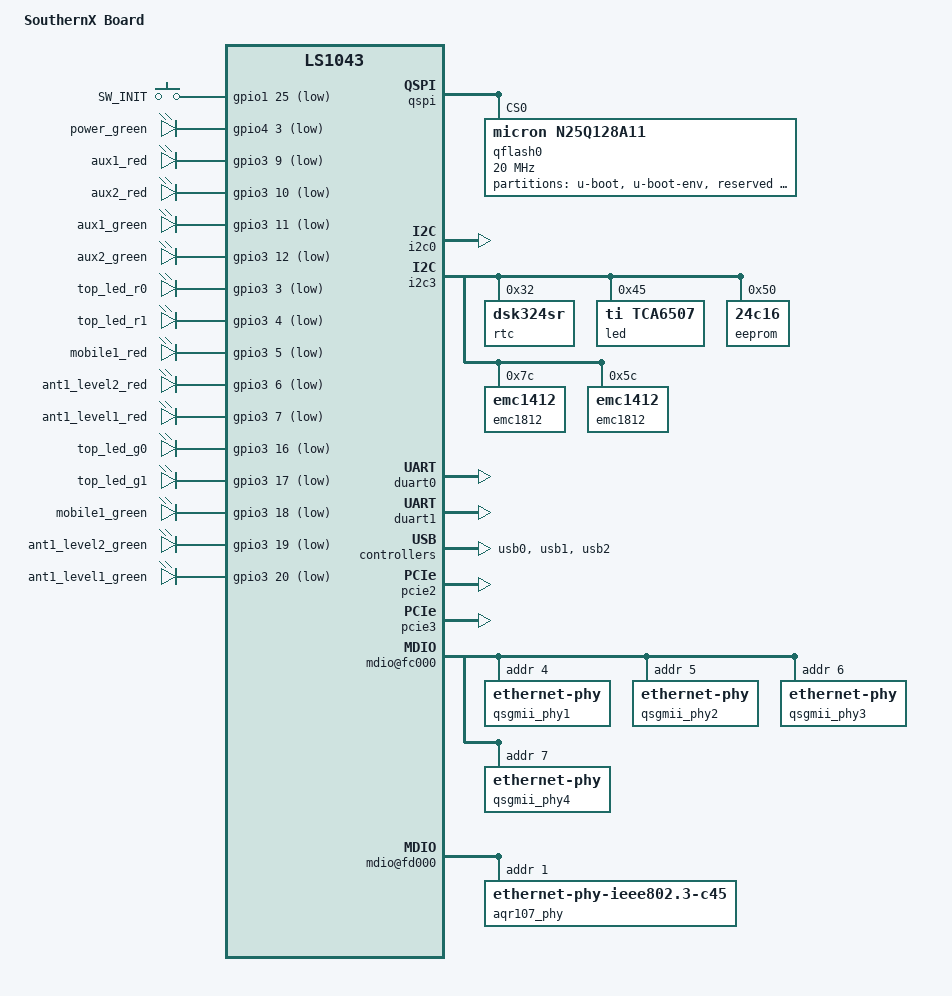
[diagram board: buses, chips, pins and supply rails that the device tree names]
// SPDX-License-Identifier: (GPL-2.0+ OR MIT)
/*
 * Device Tree Include file for Freescale Layerscape-1043A family SoC.
 *
 * Copyright 2014-2015 Freescale Semiconductor, Inc.
 *
 * Mingkai Hu <Mingkai.hu@freescale.com>
 */

/dts-v1/;
#include <dt-bindings/gpio/gpio.h>
#include <dt-bindings/input/input.h>
#include "cs-southernx.dtsi"

/ {
	model = "SouthernX Board";

	aliases {
		crypto = &crypto;
		serial0 = &duart0;
		serial1 = &duart1;
	};

	chosen {
		stdout-path = "serial0:115200n8";
	};

	gpio_keys {
		compatible = "gpio-keys";
		status = "ok";

		sw_init {
			label = "SW_INIT";
			gpios = <&gpio1 25 GPIO_ACTIVE_LOW>;
			linux,code = <BTN_0>;
		};
	};

	leds_system: leds_system {
		compatible = "gpio-leds";
		status = "ok";

		led@1 {
			label = "power_green";
			gpios = <&gpio4 3 GPIO_ACTIVE_LOW>;
			default-state = "on";
		};

		led@2 {
			label = "aux1_red";
			gpios = <&gpio3 9 GPIO_ACTIVE_LOW>;
		};

		led@3 {
			label = "aux2_red";
			gpios = <&gpio3 10 GPIO_ACTIVE_LOW>;
		};

		led@4 {
			label = "aux1_green";
			gpios = <&gpio3 11 GPIO_ACTIVE_LOW>;
		};

		led@5 {
			label = "aux2_green";
			gpios = <&gpio3 12 GPIO_ACTIVE_LOW>;
		};

		led@6 {
			label = "top_led_r0";
			gpios = <&gpio3 3 GPIO_ACTIVE_LOW>;
		};

		led@7 {
			label = "top_led_r1";
			gpios = <&gpio3 4 GPIO_ACTIVE_LOW>;
		};

		led@8 {
			label = "mobile1_red";
			gpios = <&gpio3 5 GPIO_ACTIVE_LOW>;
		};

		led@9 {
			label = "ant1_level2_red";
			gpios = <&gpio3 6 GPIO_ACTIVE_LOW>;
		};

		led@10 {
			label = "ant1_level1_red";
			gpios = <&gpio3 7 GPIO_ACTIVE_LOW>;
		};

		led@11 {
			label = "top_led_g0";
			gpios = <&gpio3 16 GPIO_ACTIVE_LOW>;
		};

		led@12 {
			label = "top_led_g1";
			gpios = <&gpio3 17 GPIO_ACTIVE_LOW>;
		};

		led@13 {
			label = "mobile1_green";
			gpios = <&gpio3 18 GPIO_ACTIVE_LOW>;
		};

		led@14 {
			label = "ant1_level2_green";
			gpios = <&gpio3 19 GPIO_ACTIVE_LOW>;
		};

		led@15 {
			label = "ant1_level1_green";
			gpios = <&gpio3 20 GPIO_ACTIVE_LOW>;
		};

	};
};

&qspi {
	num-cs = <1>;
	bus-num = <0>;
	status = "okay";

	qflash0: n25q128a11@0 {
		compatible = "micron,n25q128a11";
		#address-cells = <1>;
		#size-cells = <1>;
		spi-max-frequency = <20000000>;
		m25p,fast-read;
		reg = <0>;
		spi-rx-bus-width = <2>;
		spi-tx-bus-width = <2>;

		/* MTD partition table */
		partition@0 {
			label = "u-boot";
			reg = <0x00000000 0x00200000>;
		};

		partition@1 {
			label = "u-boot-env";
			reg = <0x00200000 0x00080000>;
		};

		partition@2 {
			label = "reserved";
			reg = <0x00280000 0x00080000>;
		};

		partition@3 {
			label = "oops";
			reg = <0x00300000 0x00200000>;
		};
	};
};

&i2c0 {
	status = "okay";
};

&i2c3 {
	status = "okay";

	rtc@32 {
		compatible = "dsk324sr";
		reg = <0x32>;
	};

	led@45 {
		compatible = "ti,tca6507";
		#address-cells = <1>;
		#size-cells = <0>;
		reg = <0x45>;

		/* LEDs on Main board */
		led0: power-status-red@0 {
			label = "power_red";
			reg = <0x0>;
		};

		led1: system-status1-red@1 {
			label = "status1_red";
			reg = <0x1>;
		};

		led2: system-status2-red@2 {
			label = "status2_red";
			reg = <0x2>;
		};

		led3: system-status3-red@3 {
			label = "status3_red";
			reg = <0x3>;
		};

		led4: system-status1-green@4 {
			label = "status1_green";
			linux,default-trigger = "timer";
			reg = <0x4>;
		};

		led5: system-status2-green@5 {
			label = "status2_green";
			reg = <0x5>;
		};

		led6: system-status3-green@6 {
			label = "status3_green";
			reg = <0x6>;
		};
	};

	eeprom@50 {
		compatible = "24c16";
		reg = <0x50>;
	};

	emc1812@7c {
		compatible = "emc1412";
		reg = <0x7c>;
	};

	emc1812@5c {
		compatible = "emc1412";
		reg = <0x5c>;
	};
};

&duart0 {
	status = "okay";
};

&duart1 {
	status = "okay";
};

&usb0 {
	status = "okay";
};

&usb1 {
	status = "okay";
};

&usb2 {
	status = "okay";
};

&pcie2 {
	status = "okay";
};

&pcie3 {
	status = "okay";
};

#include "fsl-ls1043-post.dtsi"

&fman0 {
	ethernet@e0000 {
		phy-handle = <&qsgmii_phy1>;
		phy-connection-type = "qsgmii";
	};

	ethernet@e2000 {
		phy-handle = <&qsgmii_phy2>;
		phy-connection-type = "qsgmii";
	};

	ethernet@e8000 {
		phy-handle = <&qsgmii_phy3>;
		phy-connection-type = "qsgmii";
	};

	ethernet@ea000 {
		phy-handle = <&qsgmii_phy4>;
		phy-connection-type = "qsgmii";
	};

	ethernet@f0000 { /* 10GEC1 */
		phy-handle = <&aqr107_phy>;
		phy-connection-type = "xgmii";
	};

	ethernet@e4000 {
		status = "disabled";
	};

	ethernet@e6000 {
		status = "disabled";
	};

	mdio@fc000 {
		qsgmii_phy1: ethernet-phy@1 {
			interrupts = <GIC_SPI 133 IRQ_TYPE_LEVEL_HIGH>;
			reg = <0x4>;
		};

		qsgmii_phy2: ethernet-phy@2 {
			interrupts = <GIC_SPI 133 IRQ_TYPE_LEVEL_HIGH>;
			reg = <0x5>;
		};

		qsgmii_phy3: ethernet-phy@3 {
			interrupts = <GIC_SPI 133 IRQ_TYPE_LEVEL_HIGH>;
			reg = <0x6>;
		};

		qsgmii_phy4: ethernet-phy@4 {
			interrupts = <GIC_SPI 133 IRQ_TYPE_LEVEL_HIGH>;
			reg = <0x7>;
		};
	};

	mdio@fd000 {
		aqr107_phy: ethernet-phy@1 {
			compatible = "ethernet-phy-ieee802.3-c45";
			interrupts = <GIC_SPI 147 IRQ_TYPE_LEVEL_HIGH>;
			reg = <0x1>;
		};
	};
};
